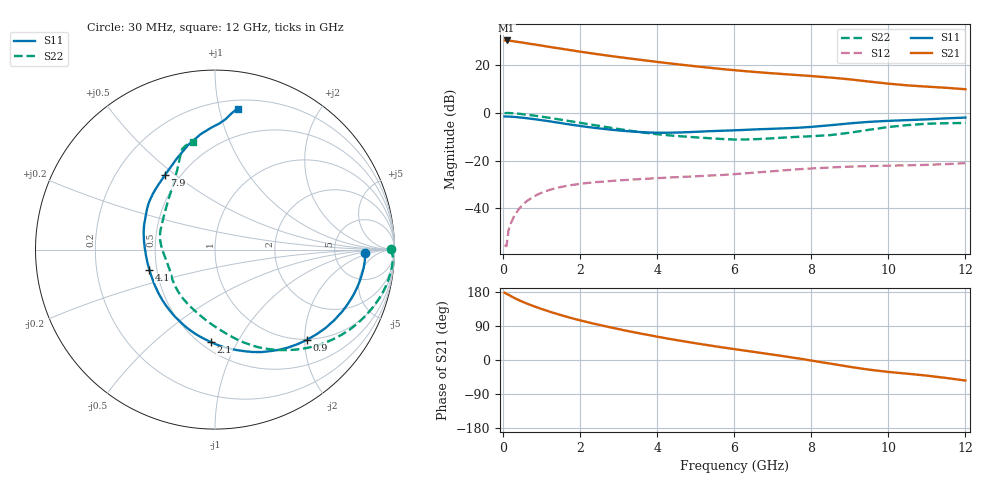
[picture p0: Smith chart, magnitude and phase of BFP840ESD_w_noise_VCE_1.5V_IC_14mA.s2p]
! Infineon Technologies  Discrete & RF Semiconductors
! BFP840ESD
! VCE =  1.5 V,  IC =  14 mA
! Common Emitter S-Parameters:  May 2012
# GHz  S  MA  R  50
!  f  S11  S21  S12  S22
! GHz  MAG  ANG  MAG  ANG  MAG  ANG  MAG  ANG
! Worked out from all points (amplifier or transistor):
!   93 points, 30 MHz to 12 GHz, reference 50 ohm
!   highest |S21| = 30.3 dB at 80 MHz (marker M1)
!   |S21| within 3 dB of that: start of sweep to 1.315 GHz
!   unconditionally stable (mu >= 1): 5.215 GHz to 8.936 GHz
!   at 1.1 GHz: K = 0.33, MSG = 30.4 dB, |S12| = -32.8 dB
!   at 4.2 GHz: K = 0.89, MSG = 24.1 dB, |S12| = -27.2 dB
!   at 12 GHz: K = 0.74, MSG = 15.5 dB, |S12| = -21.1 dB
!   lowest NFmin = 0.96 dB at 450 MHz
!   S11 on the Smith chart (normalised r, x): 30 MHz: 11, -2; 900 MHz: 0.99, -2.05; 2.1 GHz: 0.56, -0.79; 4.1 GHz: 0.46, -0.12; 7.9 GHz: 0.41, +0.46; 12 GHz: 0.27, +1.14
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0.03  0.8379 -1.4  32.86 177.6  0.0017 100.1  0.9804 0.2
0.08  0.8371 -4.1  32.91 174.8  0.0016 131.4  0.993 -2.6
0.28  0.8198 -14.9  31.56 163.9  0.0069 81.4  0.9752 -11.6
0.43  0.7992 -22.4  30.21 156.6  0.0103 74.7  0.9499 -17.5
0.6  0.7722 -30.6  28.75 149.3  0.014 71.0  0.9165 -23.7
0.8  0.7359 -40.0  27.18 141.5  0.0177 65.2  0.8736 -30.6
0.9  0.718 -44.4  26.39 137.9  0.0196 63.0  0.8512 -33.8
1.1  0.6812 -53.2  24.84 131.0  0.0228 58.3  0.806 -39.9
1.4  0.6264 -65.7  22.73 121.3  0.0268 52.4  0.738 -48.5
1.8  0.5584 -81.4  20.25 109.7  0.0309 46.2  0.6548 -58.6
2.1  0.5161 -92.5  18.62 101.9  0.0332 42.0  0.5986 -65.6
2.6  0.4607 -110.5  16.28 90.1  0.0362 37.0  0.5145 -76.4
3.1  0.4197 -128.2  14.4 79.2  0.0387 33.6  0.444 -87.1
3.6  0.3933 -145.7  12.8 69.1  0.0412 31.1  0.3889 -99.1
4.1  0.3821 -163.0  11.42 59.6  0.0431 28.6  0.349 -112.0
4.9  0.3968 174.3  9.629 45.7  0.0462 25.9  0.3101 -132.0
6.1  0.4329 152.4  7.693 27.3  0.0526 23.8  0.2761 -159.6
7.9  0.5014 123.7  5.986 0.2  0.0674 15.1  0.3208 162.0
8.5  0.5499 112.8  5.484 -9.7  0.0715 10.6  0.3414 146.5
9.5  0.6472 97.2  4.523 -25.5  0.0763 2.6  0.4414 121.0
10.5  0.7031 88.0  3.759 -36.2  0.0793 -3.4  0.5529 110.6
12  0.7953 80.9  3.125 -54.2  0.0878 -10.4  0.6129 101.8
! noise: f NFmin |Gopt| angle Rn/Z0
0.45  0.96  0.19  1  0.13
0.9  0.97  0.19  4  0.13
1.5  0.97  0.2  8  0.12
1.9  0.98  0.17  12  0.12
2.4  0.99  0.14  19  0.12
3.5  1  0.05  63  0.1
5.5  1.03  0.07  -165  0.1
8  1.14  0.29  -116  0.12
10  1.26  0.49  -83  0.22
12  1.48  0.62  -68  0.31
